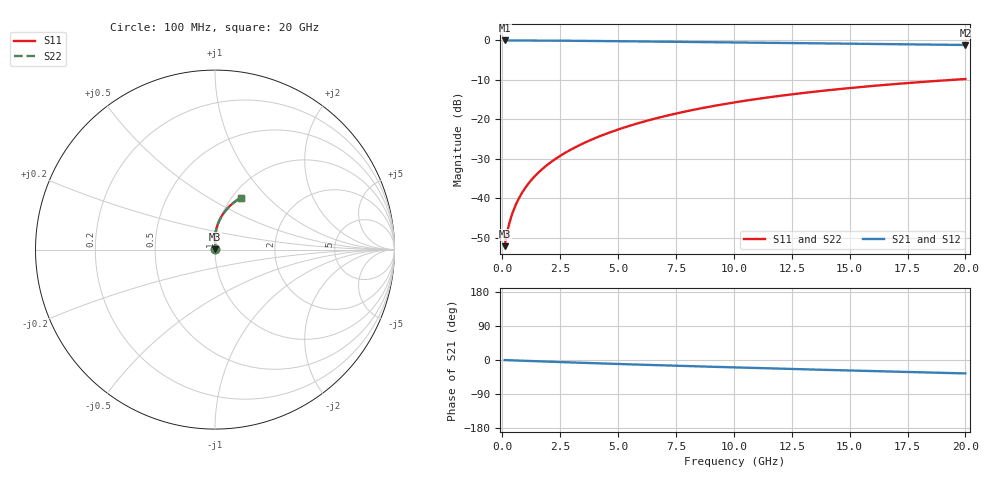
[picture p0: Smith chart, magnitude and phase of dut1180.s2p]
! Touchstone file exported from HFSS 2024.1.0
!  File:  C:/UserFiles/LocalFiles/RDL_TSV_Batchsim/temp_RDL_top_1180_1780049215.aedt
!  Generated:  06:09:02 PM May 29, 2026
!  Design:  RDL_top
!  Project:  temp_RDL_top_1180_1780049215
!  Setup:  Setup1
!  Solution:  Sweep
! Variables:
!  dtsv = 10.80580581um
!  hbump = 3um
!  htsv = 52um
!  ldown = 100um
!  lrdl = 497.18um
!  p = 40
!  p1 = 56.26um
!  rhole = 1um
!  t = 450um
!  tdown = 3.915915916um
!  trdl = 3.79um
!  wdown = 15.38538539um
!  wrdl = 26.93um
# GHz S MA R 50.000000
! Terminal data exported
! Port[1] = Box2_T1
! Port[2] = Box2_T2
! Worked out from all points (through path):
!   200 points, 100 MHz to 20 GHz, reference 50 ohm
!   highest |S21| = -0.02 dB at 100 MHz (marker M1); lowest = -1.2 dB at 20 GHz (marker M2)
!   group delay of S21, straight-line fit = 4.85 ps
!   lowest |S11| = -52.2 dB at 100 MHz (marker M3), VSWR 1.00, Z = 50.2 + j0.151 ohm
!   |S11| at or under -10 dB: start of sweep to 19.44 GHz
!   |S22| runs from -52.2 to -9.8 dB; largest |S21 - S12| = 6e-15
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0.1  0.002465 37.6  0.998 -0.2  0.998 -0.2  0.002465 37.6
! Gamma 0 0 0 0
! Port Impedance 50 0 50 0
0.2  0.003577 54.5  0.9979 -0.5  0.9979 -0.5  0.003577 54.5
0.3  0.004771 62.9  0.9977 -0.7  0.9977 -0.7  0.004771 62.9
0.4  0.005983 68.1  0.9975 -0.9  0.9975 -0.9  0.005983 68.1
0.5  0.007213 71.8  0.9974 -1.1  0.9974 -1.1  0.007213 71.8
0.6  0.008461 74.5  0.9972 -1.3  0.9972 -1.3  0.008461 74.5
0.8  0.01101 78.4  0.9969 -1.8  0.9969 -1.8  0.01101 78.4
1.1  0.01492 82.0  0.9962 -2.4  0.9962 -2.4  0.01492 81.9
1.5  0.02029 84.8  0.9951 -3.3  0.9951 -3.3  0.02029 84.8
2.1  0.02864 87.2  0.993 -4.6  0.993 -4.6  0.02864 87.2
2.7  0.03736 88.6  0.9903 -5.9  0.9903 -5.9  0.03736 88.5
3.5  0.04959 89.4  0.986 -7.5  0.986 -7.5  0.04957 89.4
4.2  0.06081 89.5  0.9817 -8.9  0.9817 -8.9  0.06079 89.5
5  0.07417 89.2  0.9765 -10.5  0.9765 -10.5  0.07413 89.1
5.9  0.08972 88.3  0.9704 -12.2  0.9704 -12.2  0.08966 88.3
6.8  0.1057 87.2  0.9641 -13.9  0.9641 -13.9  0.1056 87.1
8.4  0.1344 84.6  0.953 -16.7  0.953 -16.7  0.1343 84.5
10.1  0.165 81.5  0.9414 -19.6  0.9414 -19.6  0.1648 81.4
11.7  0.1932 78.4  0.9306 -22.3  0.9306 -22.3  0.1931 78.4
13.4  0.2224 75.2  0.9192 -25.1  0.9192 -25.1  0.2221 75.1
16.7  0.2756 69.1  0.897 -30.4  0.897 -30.4  0.2754 69.0
20  0.3241 63.4  0.8748 -35.4  0.8748 -35.4  0.3237 63.3
